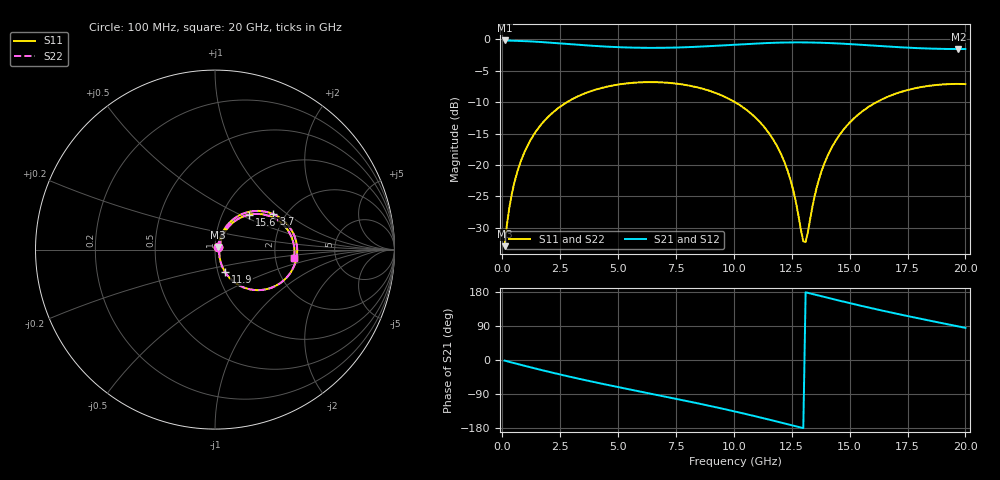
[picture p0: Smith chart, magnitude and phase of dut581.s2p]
! Touchstone file exported from HFSS 2026.1.0
!  File:  C:/ffzhzh/LocalFiles/Ansys_Project_Files/temp_train_TSV_RDL_581_1783118922_37876.aedt
!  Generated:  07:00:19 AM Jul  4, 2026
!  Design:  TSV_RDL
!  Project:  temp_train_TSV_RDL_581_1783118922_37876
! Variables:
!  h_bsmrdl = 5.3um
!  h_ox = 20um
!  h_rdl = 5um
!  h_sub = 67.1um
!  h_tmrdl = 5.87um
!  h_tsv = 67.1um
!  h_via = 3um
!  l_bsmrdl = 834.57um
!  l_sub = 4853.71um
!  l_tmrdl = 454.32um
!  m_sub = 200um
!  pitch = 41.6um
!  r_tsv = 3.75um
!  s_tmrdl = 10um
!  w_bsmrdl = 21.53um
!  w_sub = 500um
!  w_tmrdl = 22.71um
!  x_tsv_center1 = 465.675um
!  x_tsv_center2 = 1321.775um
!  x_tsv_center3 = 1798.805um
!  x_tsv_center4 = 2654.905um
!  x_tsv_center5 = 3131.935um
!  x_tsv_center6 = 3988.035um
# GHz S MA R 50.000000
! Terminal data exported
! Port[1] = TM_RDL1_1_T1
! Port[2] = TM_RDL5_1_T1
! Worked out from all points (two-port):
!   200 points, 100 MHz to 20 GHz, reference 50 ohm
!   highest |S21| = -0.15 dB at 100 MHz (marker M1); lowest = -1.5 dB at 19.7 GHz (marker M2)
!   |S21| within 3 dB of the highest: start of sweep to end of sweep
!   lowest |S11| = -32.9 dB at 100 MHz (marker M3), VSWR 1.05, Z = 51.8 + j1.46 ohm
!   |S11| at or under -10 dB: start of sweep to 2.786 GHz; 10.06 GHz to 16.15 GHz (6.091 GHz wide, 46.5 % of centre)
!   |S22| runs from -32.9 to -6.8 dB; largest |S21 - S12| = 1e-13
!   S11 on the Smith chart (normalised r, x): 100 MHz: 1.04, +0.03; 3.7 GHz: 1.73, +0.80; 11.9 GHz: 1.08, -0.28; 15.6 GHz: 1.34, +0.56; 20 GHz: 2.54, -0.31
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0.1  0.02262 38.4  0.9826 -1.7  0.9826 -1.7  0.02262 38.4
! Gamma 0 0 0 0
! Port Impedance 50 0 50 0
0.3  0.04528 60.4  0.9802 -4.9  0.9802 -4.9  0.04528 60.4
0.5  0.06979 65.6  0.978 -8.0  0.978 -8.0  0.06979 65.6
1.1  0.1437 64.0  0.9684 -17.4  0.9684 -17.4  0.1437 64.0
2.1  0.2541 52.0  0.9427 -32.5  0.9427 -32.5  0.2541 52.0
3.5  0.3683 33.7  0.9015 -52.1  0.9015 -52.1  0.3683 33.7
3.7  0.3806 31.2  0.8961 -54.8  0.8961 -54.8  0.3806 31.2
6.8  0.4565 -6.0  0.8582 -93.7  0.8582 -93.7  0.4565 -6.0
8.5  0.4125 -26.2  0.8768 -115.1  0.8768 -115.1  0.4125 -26.2
10.1  0.3131 -45.9  0.9106 -136.6  0.9106 -136.6  0.3131 -46.0
11.1  0.2226 -58.0  0.9316 -151.0  0.9316 -151.0  0.2226 -58.1
11.9  0.1376 -65.8  0.9436 -163.0  0.9436 -163.0  0.1376 -66.0
12.5  0.07025 -64.8  0.9481 -172.1  0.9481 -172.1  0.07018 -65.1
13  0.02474 -17.7  0.9483 -179.8  0.9483 -179.8  0.02439 -18.1
13.1  0.0244 8.9  0.948 178.7  0.948 178.7  0.02401 8.9
13.4  0.0473 51.7  0.9461 174.1  0.9461 174.1  0.04705 52.1
13.7  0.07966 60.1  0.9431 169.5  0.9431 169.5  0.07948 60.4
14.2  0.1349 60.1  0.9358 162.0  0.9358 162.0  0.1348 60.2
15.6  0.2725 45.5  0.9051 141.6  0.9051 141.6  0.2724 45.6
16.7  0.3534 32.2  0.8781 126.5  0.8781 126.5  0.3534 32.2
19.7  0.4428 -3.0  0.8397 88.5  0.8397 88.5  0.4427 -3.0
20  0.4417 -6.4  0.8401 84.8  0.8401 84.8  0.4416 -6.4
